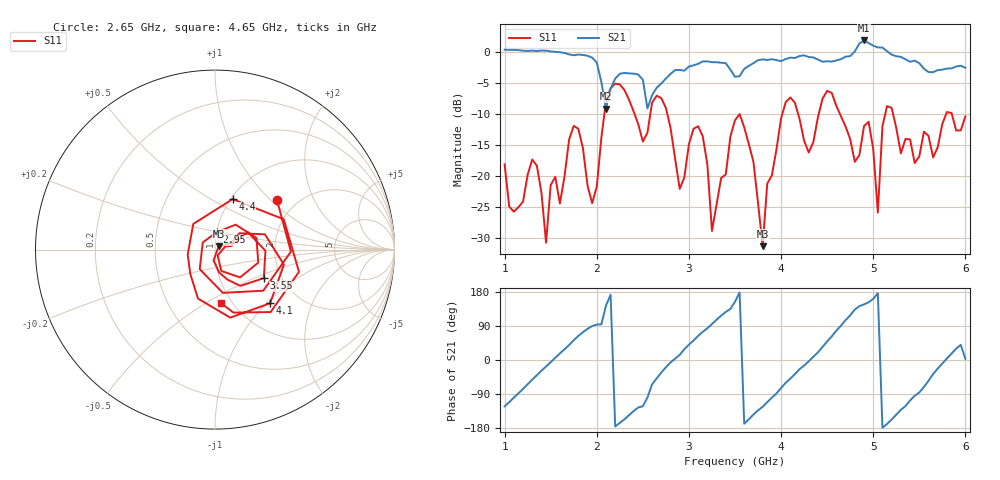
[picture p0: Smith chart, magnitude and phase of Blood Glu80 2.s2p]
! NanoVNA-App
! Date: 2024-03-21 13:22:05
! Start: 1GHz Stop: 6GHz Points: 101
! S-Parameter data: F S11 S21 S12 S22
# Hz S RI R 50
!	Frequency	S11_Real	S11_Imag	S21_Real	S21_Imag	S12_Real	S12_Imag	S22_Real	S22_Imag
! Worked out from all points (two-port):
!   101 points, 1 GHz to 6 GHz, reference 50 ohm
!   highest |S21| = 1.81 dB at 4.9 GHz (marker M1); lowest = -9.2 dB at 2.1 GHz (marker M2)
!   |S21| within 3 dB of the highest: start of sweep to 1.965 GHz; 4.652 GHz to 5.346 GHz (693.8 MHz wide, 13.9 % of centre)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
!   lowest |S11| = -31.3 dB at 3.8 GHz (marker M3), VSWR 1.06, Z = 52.1 + j1.88 ohm
!   |S11| at or under -10 dB: start of sweep to 2.083 GHz; 2.765 GHz to 4.014 GHz (1.249 GHz wide, 36.8 % of centre); 5.215 GHz to 5.792 GHz (577.3 MHz wide, 10.5 % of centre)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
!   S12 and S22 are empty: the file has one direction only
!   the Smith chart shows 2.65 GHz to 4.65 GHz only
!   S11 on the Smith chart (normalised r, x): 2.65 GHz: 1.59, +1.10; 2.95 GHz: 1.00, +0.20; 3.55 GHz: 1.62, -0.57; 4.1 GHz: 1.43, -1.05; 4.4 GHz: 1.02, +0.63; 4.65 GHz: 0.89, -0.59
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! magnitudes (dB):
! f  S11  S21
! 1 GHz  -18.1  0.3
! 1.35 GHz  -18.3  0.1
! 1.45 GHz  -30.7  0.2
! 1.85 GHz  -15.5  -0.5
! 1.95 GHz  -24.4  -1.0
! 2.1 GHz  -8.0  -9.2
! 2.65 GHz  -7.1  -5.8
! 2.7 GHz  -7.5  -5.1
! 2.95 GHz  -20.2  -3.1
! 3.1 GHz  -12.0  -1.9
! 3.25 GHz  -28.8  -1.7
! 3.5 GHz  -11.0  -4.0
! 3.55 GHz  -10.0  -3.9
! 3.8 GHz  -31.3  -1.2
! 4.1 GHz  -7.4  -1.0
! 4.35 GHz  -14.5  -0.9
! 4.4 GHz  -10.5  -1.3
! 4.65 GHz  -10.4  -1.2
! 4.9 GHz  -12.0  1.8
! 5.05 GHz  -25.9  0.7
! 5.2 GHz  -9.0  -0.5
! 6 GHz  -10.4  -2.6
